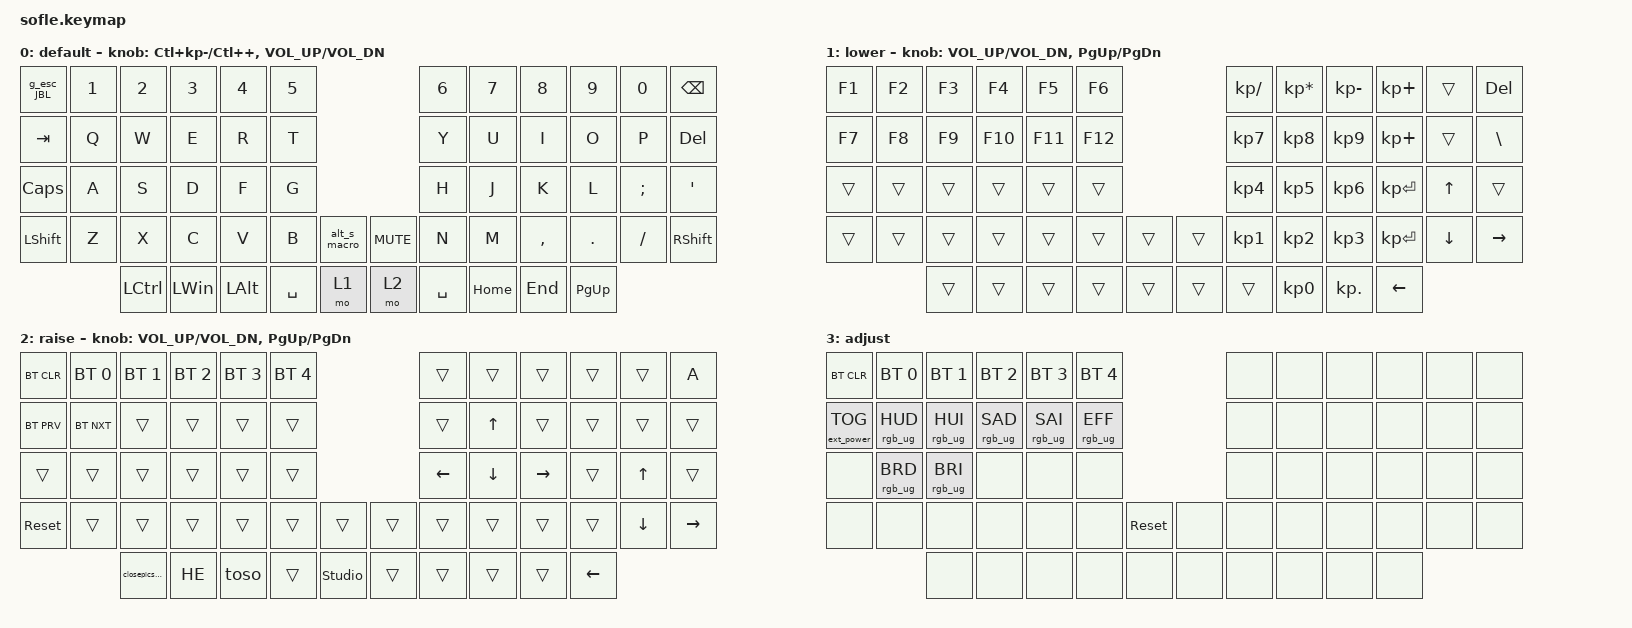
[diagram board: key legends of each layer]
/*
 * Copyright (c) 2020 The ZMK Contributors
 *
 * SPDX-License-Identifier: MIT
 */

#include <behaviors.dtsi>
#include <dt-bindings/zmk/bt.h>
#include <dt-bindings/zmk/ext_power.h>
#include <dt-bindings/zmk/keys.h>
#include <dt-bindings/zmk/rgb.h>

#define BASE 0
#define LOWER 1
#define RAISE 2
#define ADJUST 3

/ {
    // Activate ADJUST layer by pressing raise and lower

    conditional_layers {
        compatible = "zmk,conditional-layers";

        adjust_layer {
            if-layers = <LOWER RAISE>;
            then-layer = <ADJUST>;
        };
    };

    macros {
        newlinecopath: newlinecopath {
            compatible = "zmk,behavior-macro";
            #binding-cells = <0>;
            bindings = <&kp SPACE &kp SPACE &kp SPACE &kp SPACE &kp SPACE &kp MINUS &kp SPACE>;
            label = "NEWLINECOPATH";
        };

        apsignout: apsignout {
            compatible = "zmk,behavior-macro";
            #binding-cells = <0>;
            bindings = <&kp F3 &kp ENTER &kp S &kp ENTER>;
            label = "APSIGNOUT";
        };

        insertheader: insertheader {
            compatible = "zmk,behavior-macro";
            #binding-cells = <0>;
            bindings = <&kp LA(I)>;
            label = "INSERTHEADER";
        };

        HE: HE {
            compatible = "zmk,behavior-macro";
            #binding-cells = <0>;
            bindings = <&none &kp LS(H) &kp AMPS &kp LS(E)>;
            label = "HE";
        };

        closepicsplus: closepicsplus {
            compatible = "zmk,behavior-macro";
            #binding-cells = <0>;
            bindings = <&kp LA(C)>;
            label = "CLOSEPICSPLUS";
        };

        toso: toso {
            compatible = "zmk,behavior-macro";
            #binding-cells = <0>;
            bindings = <&kp F3 &kp ENTER &kp S &kp ENTER>;
            label = "TOSO";
        };

        alt_s_macro: alt_s_macro {
            compatible = "zmk,behavior-macro";
            #binding-cells = <0>;
            bindings = <&kp LA(S)>;
            label = "ALT_S_MACRO";
        };
    };

    combos {
        compatible = "zmk,combos";

        apsignout {
            bindings = <&apsignout>;
            key-positions = <0 11>;
            layers = <0>;
        };

        minus {
            bindings = <&kp MINUS>;
            key-positions = <10 11>;
            layers = <0>;
        };

        caps {
            bindings = <&kp CAPSLOCK>;
            key-positions = <24 25>;
            layers = <0>;
        };

        newlinecopath {
            bindings = <&newlinecopath>;
            key-positions = <12 13>;
            layers = <0>;
        };

        pagedn {
            bindings = <&kp PAGE_DOWN>;
            key-positions = <59 58>;
            layers = <0>;
        };

        cut {
            bindings = <&kp LC(X)>;
            key-positions = <0 12>;
            layers = <0>;
        };

        copy {
            bindings = <&kp LC(C)>;
            key-positions = <12 24>;
        };

        paste {
            bindings = <&kp LC(V)>;
            key-positions = <36 24>;
            layers = <0>;
        };

        quicktextcopath {
            bindings = <&kp LA(Q)>;
            key-positions = <0 1>;
            layers = <0>;
        };

        nexthashcopath {
            bindings = <&kp LA(X)>;
            key-positions = <1 2>;
            layers = <0>;
        };

        undo {
            bindings = <&kp LC(Z)>;
            key-positions = <36 37>;
        };

        corcheteL {
            bindings = <&kp LEFT_BRACKET>;
            key-positions = <21 22>;
            layers = <0>;
        };

        bracketR {
            bindings = <&kp RIGHT_BRACKET>;
            key-positions = <23 22>;
            layers = <0>;
        };

        calculator {
            bindings = <&kp C_AL_CALC>;
            key-positions = <36 49>;
        };

        equal {
            bindings = <&kp EQUAL>;
            key-positions = <9 10>;
        };

        enter {
            bindings = <&kp ENTER>;
            key-positions = <34 35>;
        };

        insertheader {
            bindings = <&insertheader>;
            key-positions = <13 14>;
        };

        plus {
            bindings = <&kp PLUS>;
            key-positions = <8 9>;
        };
    };

    behaviors {
        g_esc_JBL: g_esc_JBL {
            compatible = "zmk,behavior-mod-morph";
            label = "G_ESC_JBL";
            bindings = <&alts_esc>, <&kp TILDE>;

            #binding-cells = <0>;
            mods = <(MOD_RSFT)>;
            keep-mods = <(MOD_RSFT)>;
        };

        alts_esc: alts_esc {
            compatible = "zmk,behavior-tap-dance";
            label = "ALTS_ESC";
            #binding-cells = <0>;
            bindings = <&kp ESCAPE>, <&alt_s_macro>;

            tapping-term-ms = <200>;
        };
    };

    keymap {
        compatible = "zmk,keymap";

        default_layer {
            label = "default";

            // ------------------------------------------------------------------------------------------------------------
            // |   `   |  1  |  2  |  3   |  4   |  5   |                   |  6   |  7    |  8    |  9   |   0   |       |
            // |  ESC  |  Q  |  W  |  E   |  R   |  T   |                   |  Y   |  U    |  I    |  O   |   P   | BKSPC |
            // |  TAB  |  A  |  S  |  D   |  F   |  G   |                   |  H   |  J    |  K    |  L   |   ;   |   '   |
            // | SHIFT |  Z  |  X  |  C   |  V   |  B   |  MUTE  |  |       |  N   |  M    |  ,    |  .   |   /   | SHIFT |
            //               | GUI | ALT  | CTRL | LOWER|  ENTER |  | SPACE | RAISE| CTRL  | ALT   | GUI  |

            bindings = <
&g_esc_JBL  &kp N1  &kp N2            &kp N3        &kp N4        &kp N5                                 &kp N6     &kp N7    &kp N8     &kp N9       &kp N0    &kp BACKSPACE
&kp TAB     &kp Q   &kp W             &kp E         &kp R         &kp T                                  &kp Y      &kp U     &kp I      &kp O        &kp P     &kp DEL
&kp CAPS    &kp A   &kp S             &kp D         &kp F         &kp G                                  &kp H      &kp J     &kp K      &kp L        &kp SEMI  &kp SQT
&kp LSHFT   &kp Z   &kp X             &kp C         &kp V         &kp B      &alt_s_macro    &kp C_MUTE  &kp N      &kp M     &kp COMMA  &kp DOT      &kp FSLH  &kp RSHFT
                    &kp LEFT_CONTROL  &kp LEFT_WIN  &kp LEFT_ALT  &kp SPACE  &mo 1           &mo 2       &kp SPACE  &kp HOME  &kp END    &kp PAGE_UP
            >;

            sensor-bindings =
                <&inc_dec_kp LC(KP_MINUS) LC(PLUS)>,
                <&inc_dec_kp C_VOL_UP C_VOL_DN>;
        };

        lower_layer {
            label = "lower";

            // TODO: Some binds are waiting for shifted keycode support.
            // ------------------------------------------------------------------------------------------------------------
            // |       |  F1 |  F2 |  F3  |  F4  |  F5  |                   |  F6  |  F7   |  F8   |  F9  |  F10  |  F11  |
            // |   `   |  1  |  2  |  3   |  4   |  5   |                   |  6   |  7    |  8    |  9   |   0   |  F12  |
            // |       |  !  |  @  |  #   |  $   |  %   |                   |  ^   |  &    |  *    |  (   |   )   |   |   |
            // |       |  =  |  -  |  +   |  {   |  }   |        |  |       |  [   |  ]    |  ;    |  :   |   \   |       |
            //               |     |      |      |      |        |  |       |      |       |       |      |

            bindings = <
&kp F1  &kp F2  &kp F3  &kp F4   &kp F5   &kp F6                     &kp KP_DIVIDE    &kp KP_ASTERISK  &kp KP_MINUS     &kp KP_PLUS     &trans        &kp DELETE
&kp F7  &kp F8  &kp F9  &kp F10  &kp F11  &kp F12                    &kp KP_NUMBER_7  &kp KP_N8        &kp KP_NUMBER_9  &kp KP_PLUS     &trans        &kp BACKSLASH
&trans  &trans  &trans  &trans   &trans   &trans                     &kp KP_NUMBER_4  &kp KP_NUMBER_5  &kp KP_NUMBER_6  &kp KP_ENTER    &kp UP_ARROW  &trans
&trans  &trans  &trans  &trans   &trans   &trans   &trans    &trans  &kp KP_NUMBER_1  &kp KP_NUMBER_2  &kp KP_NUMBER_3  &kp KP_ENTER    &kp DOWN      &kp RIGHT
                &trans  &trans   &trans   &trans   &trans    &trans  &trans           &kp KP_NUMBER_0  &kp KP_DOT       &kp LEFT_ARROW
            >;

            sensor-bindings =
                <&inc_dec_kp C_VOL_UP C_VOL_DN>,
                <&inc_dec_kp PG_UP PG_DN>;
        };

        raise_layer {
            label = "raise";

            // ------------------------------------------------------------------------------------------------------------
            // | BTCLR | BT1  | BT2  |  BT3  |  BT4  |  BT5 |                |      |      |       |      |       |       |
            // |       | INS  | PSCR | GUI   |       |      |                | PGUP |      |   ^   |      |       |       |
            // |       | ALT  | CTRL | SHIFT |       | CAPS |                | PGDN |   <- |   v   |  ->  |  DEL  | BKSPC |
            // |       | UNDO | CUT  | COPY  | PASTE |      |      |  |      |      |      |       |      |       |       |
            //                |      |       |       |      |      |  |      |      |      |       |      |

            bindings = <
&bt BT_CLR  &bt BT_SEL 0  &bt BT_SEL 1    &bt BT_SEL 2  &bt BT_SEL 3  &bt BT_SEL 4                            &trans    &trans    &trans     &trans    &trans        &kp A
&bt BT_PRV  &bt BT_NXT    &trans          &trans        &trans        &trans                                  &trans    &kp UP    &trans     &trans    &trans        &trans
&trans      &trans        &trans          &trans        &trans        &trans                                  &kp LEFT  &kp DOWN  &kp RIGHT  &trans    &kp UP_ARROW  &trans
&sys_reset  &trans        &trans          &trans        &trans        &trans        &trans            &trans  &trans    &trans    &trans     &trans    &kp DOWN      &kp RIGHT
                          &closepicsplus  &HE           &toso         &trans        &studio_unlock    &trans  &trans    &trans    &trans     &kp LEFT
            >;

            sensor-bindings =
                <&inc_dec_kp C_VOL_UP C_VOL_DN>,
                <&inc_dec_kp PG_UP PG_DN>;
        };

        adjust_layer {
            // ----------------------------------------------------------------------------------------------------------------------------
            // | BTCLR  |  BT1    |  BT2    |   BT3   |   BT4   |   BT5   |                  |      |      |       |      |       |       |
            // | EXTPWR | RGB_HUD | RGB_HUI | RGB_SAD | RGB_SAI | RGB_EFF |                  |      |      |       |      |       |       |
            // |        | RGB_BRD | RGB_BRI |         |         |         |                  |      |      |       |      |       |       |
            // |        |         |         |         |         |         | RGB_TOG | |      |      |      |       |      |       |       |
            //                    |         |         |         |         |         | |      |      |      |       |      |

            label = "adjust";
            bindings = <
&bt BT_CLR         &bt BT_SEL 0     &bt BT_SEL 1     &bt BT_SEL 2     &bt BT_SEL 3     &bt BT_SEL 4                          &none  &none  &none  &none  &none  &none
&ext_power EP_TOG  &rgb_ug RGB_HUD  &rgb_ug RGB_HUI  &rgb_ug RGB_SAD  &rgb_ug RGB_SAI  &rgb_ug RGB_EFF                       &none  &none  &none  &none  &none  &none
&none              &rgb_ug RGB_BRD  &rgb_ug RGB_BRI  &none            &none            &none                                 &none  &none  &none  &none  &none  &none
&none              &none            &none            &none            &none            &none            &sys_reset    &none  &none  &none  &none  &none  &none  &none
                                    &none            &none            &none            &none            &none         &none  &none  &none  &none  &none
            >;
        };
    };
};
